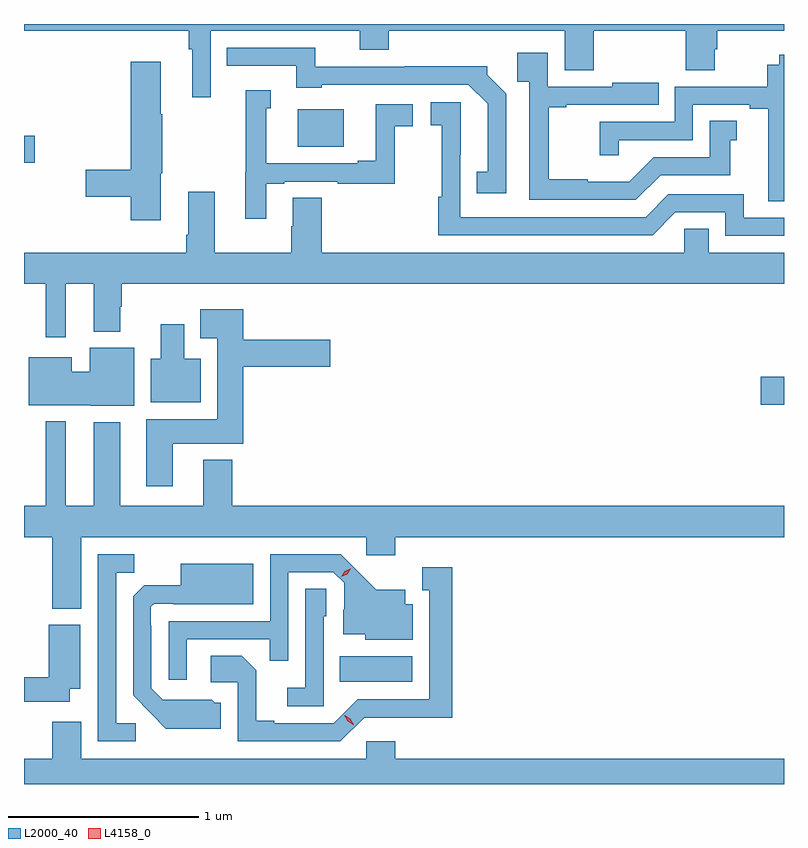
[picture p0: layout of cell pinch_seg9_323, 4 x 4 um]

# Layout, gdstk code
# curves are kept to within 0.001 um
import gdstk
lib = gdstk.Library(unit=1e-6, precision=1e-09)
def R(c, l, rs):  # rectangles x0, y0, x1, y1
    for r in rs: c.add(gdstk.rectangle(r[:2], r[2:], *l))
def P(c, l, *ps):  # polygons
    for p in ps: c.add(gdstk.Polygon(p, *l))
L2000_40 = (2000, 40)
L4158_0 = (4158, 0)

pinch_seg9_323 = lib.new_cell('pinch_seg9_323')
R(pinch_seg9_323, L2000_40, [(598.906,1190.33,599.287,1190.464), (601.122,1191.788,601.244,1191.935), (597.244,1193.062,597.301,1193.204), (598.685,1193.147,598.927,1193.344)])
P(pinch_seg9_323, L2000_40, [(598.227,1193.756),(599.012,1193.756),(599.012,1193.657),(599.165,1193.657),(599.165,1193.756),(600.089,1193.756),(600.089,1193.548),(600.242,1193.548),(600.242,1193.756),(600.728,1193.756),(600.728,1193.548),(600.88,1193.548),(600.88,1193.658),(600.893,1193.658),(600.893,1193.756),(601.244,1193.756),(601.244,1193.792),(597.244,1193.792),(597.244,1193.756),(598.111,1193.756),(598.111,1193.66),(598.13,1193.66),(598.13,1193.406),(598.227,1193.406)],
  [(599.781,1193.426),(599.682,1193.525),(599.682,1193.57),(599.248,1193.57),(599.248,1193.568),(598.776,1193.568),(598.776,1193.667),(598.312,1193.667),(598.312,1193.571),(598.676,1193.571),(598.676,1193.456),(598.812,1193.456),(598.812,1193.472),(599.583,1193.472),(599.684,1193.371),(599.684,1193.015),(599.626,1193.015),(599.626,1192.902),(599.781,1192.902)],
  [(600.594,1192.995),(600.961,1192.995),(600.961,1193.179),(600.994,1193.179),(600.994,1193.282),(600.854,1193.282),(600.854,1193.091),(600.558,1193.091),(600.43,1192.963),(600.212,1192.963),(600.212,1192.975),(600.005,1192.975),(600.005,1193.355),(600.097,1193.355),(600.097,1193.367),(600.584,1193.367),(600.584,1193.482),(600.341,1193.482),(600.341,1193.463),(600,1193.463),(600,1193.641),(599.839,1193.641),(599.839,1193.489),(599.904,1193.489),(599.904,1192.866),(600.465,1192.866)],
  [(601.244,1193.629),(601.219,1193.629),(601.219,1193.577),(601.156,1193.577),(601.156,1193.463),(600.669,1193.463),(600.669,1193.277),(600.274,1193.277),(600.274,1193.1),(600.375,1193.1),(600.375,1193.181),(600.765,1193.181),(600.765,1193.367),(601.064,1193.367),(601.064,1193.347),(601.16,1193.347),(601.16,1192.969),(601.162,1192.969),(601.162,1192.858),(601.244,1192.858)],
  [(597.964,1193.007),(597.972,1193.007),(597.972,1193.318),(597.964,1193.318),(597.964,1193.593),(597.806,1193.593),(597.806,1193.024),(597.57,1193.024),(597.57,1192.882),(597.806,1192.882),(597.806,1192.758),(597.964,1192.758)],
  [(598.519,1192.95),(598.615,1192.95),(598.615,1192.962),(598.894,1192.962),(598.894,1192.95),(599.196,1192.95),(599.196,1193.254),(599.29,1193.254),(599.29,1193.37),(599.096,1193.37),(599.096,1193.071),(599,1193.071),(599,1193.058),(598.519,1193.058),(598.519,1193.349),(598.543,1193.349),(598.543,1193.443),(598.41,1193.443),(598.41,1193.011),(598.409,1193.011),(598.409,1192.767),(598.519,1192.767)],
  [(601.244,1192.773),(601.032,1192.773),(601.032,1192.896),(600.636,1192.896),(600.516,1192.776),(599.541,1192.776),(599.542,1193.38),(599.385,1193.38),(599.385,1193.259),(599.443,1193.259),(599.443,1192.883),(599.425,1192.883),(599.425,1192.68),(600.552,1192.68),(600.672,1192.8),(600.936,1192.8),(600.936,1192.677),(601.244,1192.677)],
  [(597.463,1192.424),(597.611,1192.424),(597.611,1192.172),(597.751,1192.172),(597.751,1192.304),(597.759,1192.304),(597.759,1192.424),(601.244,1192.424),(601.244,1192.588),(600.847,1192.588),(600.847,1192.715),(600.72,1192.715),(600.72,1192.588),(598.811,1192.588),(598.811,1192.877),(598.658,1192.877),(598.658,1192.727),(598.651,1192.727),(598.651,1192.588),(598.249,1192.588),(598.249,1192.909),(598.109,1192.909),(598.109,1192.684),(598.097,1192.684),(598.097,1192.588),(597.244,1192.588),(597.244,1192.424),(597.359,1192.424),(597.359,1192.143),(597.463,1192.143)],
  [(598.027,1191.584),(598.397,1191.584),(598.397,1191.989),(598.855,1191.989),(598.855,1192.131),(598.397,1192.131),(598.397,1192.291),(598.172,1192.291),(598.172,1192.139),(598.262,1192.139),(598.262,1191.712),(597.887,1191.712),(597.887,1191.36),(598.027,1191.36)],
  [(598.174,1192.03),(598.087,1192.03),(598.087,1192.213),(597.965,1192.213),(597.965,1192.03),(597.911,1192.03),(597.911,1191.8),(598.174,1191.8)],
  [(597.823,1192.087),(597.59,1192.087),(597.59,1191.961),(597.496,1191.961),(597.496,1192.039),(597.269,1192.039),(597.269,1191.785),(597.594,1191.785),(597.594,1191.782),(597.823,1191.782)],
  [(597.544,1191.092),(599.046,1191.092),(599.046,1190.997),(599.198,1190.997),(599.198,1191.092),(601.244,1191.092),(601.244,1191.256),(598.34,1191.256),(598.34,1191.499),(598.187,1191.499),(598.187,1191.256),(597.751,1191.256),(597.751,1191.697),(597.611,1191.697),(597.611,1191.256),(597.463,1191.256),(597.463,1191.7),(597.359,1191.7),(597.359,1191.256),(597.244,1191.256),(597.244,1191.092),(597.392,1191.092),(597.392,1190.714),(597.544,1190.714)],
  [(598.101,1190.553),(598.537,1190.553),(598.537,1190.44),(598.635,1190.44),(598.635,1190.907),(598.872,1190.907),(598.929,1190.85),(598.929,1190.708),(598.925,1190.708),(598.925,1190.579),(599.04,1190.579),(599.04,1190.552),(599.29,1190.552),(599.29,1190.737),(599.251,1190.737),(599.251,1190.815),(599.099,1190.815),(598.912,1191),(598.539,1191),(598.539,1190.649),(598.005,1190.649),(598.005,1190.34),(598.101,1190.34)],
  [(597.832,1190.112),(597.729,1190.112),(597.729,1190.905),(597.825,1190.905),(597.825,1191),(597.633,1191),(597.633,1190.016),(597.832,1190.016)],
  [(598.279,1190.22),(598.248,1190.22),(598.232,1190.236),(597.975,1190.235),(597.915,1190.295),(597.915,1190.624),(597.912,1190.624),(597.912,1190.724),(597.93,1190.742),(598.03,1190.742),(598.03,1190.738),(598.45,1190.738),(598.45,1190.95),(598.07,1190.95),(598.07,1190.839),(597.878,1190.839),(597.819,1190.78),(597.819,1190.258),(597.991,1190.084),(598.279,1190.084)],
  [(599.034,1190.142),(599.497,1190.141),(599.497,1190.932),(599.339,1190.932),(599.339,1190.811),(599.378,1190.811),(599.378,1190.238),(599.001,1190.238),(598.875,1190.112),(598.561,1190.112),(598.561,1190.125),(598.467,1190.125),(598.467,1190.392),(598.391,1190.468),(598.227,1190.468),(598.227,1190.328),(598.368,1190.328),(598.368,1190.016),(598.908,1190.016)],
  [(598.821,1190.676),(598.836,1190.676),(598.836,1190.819),(598.725,1190.819),(598.725,1190.299),(598.629,1190.299),(598.629,1190.202),(598.821,1190.202)],
  [(597.484,1190.294),(597.541,1190.294),(597.541,1190.629),(597.374,1190.629),(597.374,1190.354),(597.244,1190.354),(597.244,1190.226),(597.484,1190.226)],
  [(601.244,1189.924),(599.198,1189.924),(599.198,1190.017),(599.046,1190.017),(599.046,1189.924),(597.544,1189.924),(597.544,1190.119),(597.392,1190.119),(597.392,1189.924),(597.244,1189.924),(597.244,1189.792),(601.244,1189.792)])
P(pinch_seg9_323, L4158_0, [(598.98,1190.102),(598.948,1190.121),(598.93,1190.154),(598.93,1190.154),(598.931,1190.154),(598.962,1190.135),(598.98,1190.103),(598.98,1190.102)],
  [(598.914,1190.882),(598.914,1190.882),(598.932,1190.911),(598.962,1190.926),(598.963,1190.926),(598.963,1190.925),(598.945,1190.896),(598.914,1190.882)])

lib.write_gds('pinch_seg9_323.gds')
